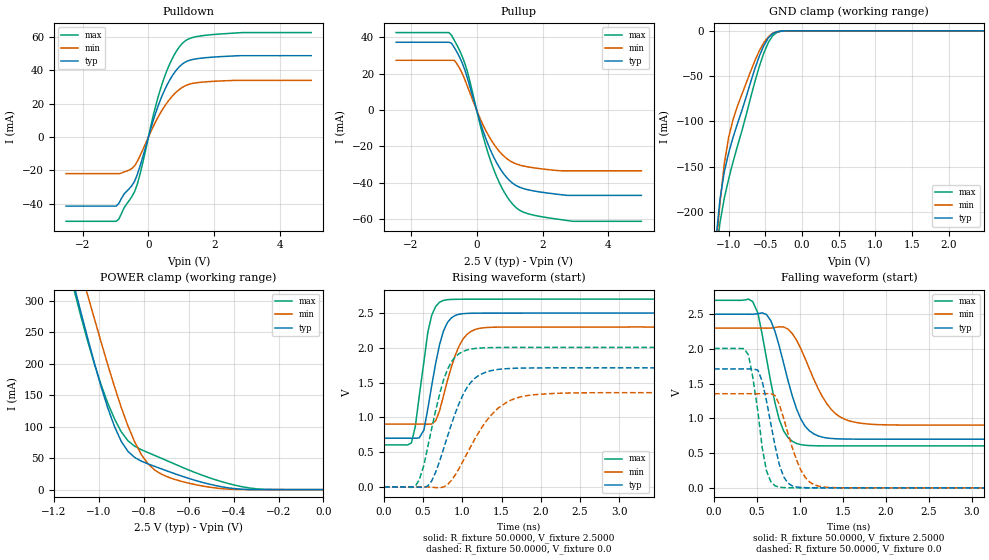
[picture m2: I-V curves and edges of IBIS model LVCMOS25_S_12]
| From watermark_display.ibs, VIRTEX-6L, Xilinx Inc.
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|   Model LVCMOS25_S_12
[Model]  LVCMOS25_S_12
Model_type I/O
Polarity   Non-Inverting
Enable   Active-Low
Vinl = 0.65
Vinh = 1.85
Vmeas =  1.2500V
Cref =   0.0F
Rref =   1.0000M
Vref =   0.0V
| Input mode values:
C_comp 4.494pF 4.451pF 4.526pF
| Output mode values:
|C_comp 4.627pF 4.451pF 4.825pF
[Model Spec]
Vinl   0.65   0.6   0.7
Vinh   1.85   1.7   2.0
[Temperature Range]   25.0000   85.0000   0.0
[Voltage Range]   2.5000V   2.3000V   2.7000V
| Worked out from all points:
|   slope of the pulldown table from 0 to 0.375 V, typ, clamps not added: 16.4 ohm
|   slope of the pullup table from 0 to 0.375 V, typ, clamps not added: 18.7 ohm
|   GND clamp passes 1 mA (typ) near -0.34 V on its own axis
|   POWER clamp passes 1 mA (typ) near -0.38 V on its own axis
|   rising waveform, R_fixture 50.0000, V_fixture 2.5000: 20-80 % time 184ps typ, 226ps min, 153ps max; typ from 0.701 V to 2.5 V
|   rising waveform, R_fixture 50.0000, V_fixture 0.0: 20-80 % time 329ps typ, 448ps min, 256ps max; typ from 0 V to 1.71 V
|   falling waveform, R_fixture 50.0000, V_fixture 2.5000: 20-80 % time 251ps typ, 327ps min, 202ps max; typ from 2.5 V to 0.701 V
|   falling waveform, R_fixture 50.0000, V_fixture 0.0: 20-80 % time 169ps typ, 216ps min, 138ps max; typ from 1.71 V to 0 V
[Pulldown]
|Voltage   I(typ)   I(min)   I(max)
-2.5V     -41.5mA    -22.02mA   -50.6mA
-980mV    -41.5mA    -22.02mA   -50.6mA
-900mV    -39.9mA    -22.02mA   -49.3mA
-500mV    -29.13mA   -18.9mA    -35.68mA
-340mV    -22.63mA   -14.72mA   -28.46mA
220mV     14.46mA    9.227mA    18.74mA
540mV     30.21mA    19.88mA    38.8mA
860mV     40.42mA    27.19mA    51.81mA
1.1V      44.71mA    30.53mA    57.38mA
1.5V      46.99mA    32.6mA     60.33mA
2.3V      48.28mA    33.66mA    61.9mA
4.94V     48.74mA    33.9mA     62.59mA
[Pullup]
|Voltage   I(typ)   I(min)   I(max)
-2.44V    37.31mA    27.39mA    42.64mA
-840mV    37.31mA    27.39mA    42.64mA
-760mV    36.77mA    27.39mA    41.15mA
-600mV    32mA       25.55mA    35.84mA
-280mV    17.58mA    13.07mA    21.21mA
200mV     -11.67mA   -8.395mA   -14.64mA
520mV     -25.95mA   -18.7mA    -32.74mA
840mV     -35.54mA   -25.56mA   -45.25mA
1.24V     -41.97mA   -29.91mA   -54.34mA
1.72V     -44.49mA   -31.78mA   -57.82mA
2.92V     -46.97mA   -33.45mA   -61.24mA
5V        -46.97mA   -33.45mA   -61.24mA
[GND_clamp]
|Voltage   I(typ)   I(min)   I(max)
-2.5V     -1.776A    -1.542A    -2.145A
-1.18V    -234.9mA   -245.4mA   -254.5mA
-1.12V    -186.7mA   -190.9mA   -212.2mA
-1.06V    -155.6mA   -146.6mA   -184.7mA
-1V       -134.5mA   -117.3mA   -163.4mA
-940mV    -117.5mA   -97.81mA   -144.5mA
-700mV    -56.37mA   -44.51mA   -73.49mA
-580mV    -27.49mA   -21.69mA   -38.67mA
-460mV    -7.862mA   -6.57mA    -12.96mA
-400mV    -2.953mA   -2.74mA    -5.373mA
-220mV    -60.62uA   -92.56uA   -101.6uA
2.48V     290.9nA    1.381uA    494.2nA
[POWER_clamp]
|Voltage   I(typ)   I(min)   I(max)
-2.49V    2.255A     2.176A     2.344A
-1.11V    323.7mA    385.4mA    316.8mA
-1.08V    282.1mA    347.1mA    275.4mA
-1.05V    241.1mA    309.2mA    236.2mA
-960mV    129.6mA    198.1mA    137.3mA
-900mV    76.58mA    130.4mA    91.7mA
-870mV    60.61mA    100.9mA    77.39mA
-810mV    45.08mA    55.2mA     63.19mA
-750mV    36.71mA    30.76mA    54.09mA
-570mV    14.56mA    7.858mA    26.92mA
-360mV    564.4uA    122.1uA    4.422mA
0V        294.1nA    909.4nA    566.4nA
[Ramp]
| variable   typ   min   max
dV/dt_r  1.0272/0.3266n   0.8130/0.4476n   1.2036/0.2555n
dV/dt_f  1.0795/0.2460n   0.8379/0.3251n   1.2576/0.1988n
R_load = 50.0000
[Rising Waveform]
R_fixture= 50.0000
V_fixture= 2.5000
V_fixture_min= 2.3000
V_fixture_max= 2.7000
|time   V(typ)   V(min)   V(max)
0s        700.8mV    903.5mV    604mV
350ps     700.9mV    903.5mV    632.7mV
400ps     700mV      903.5mV    869.9mV
510ps     818.1mV    903.4mV    1.803V
560ps     1.127V     901.9mV    2.227V
660ps     1.778V     950.7mV    2.595V
760ps     2.244V     1.313V     2.682V
960ps     2.483V     2.03V      2.698V
1.21ns    2.498V     2.278V     2.699V
5ns       2.5V       2.299V     2.7V
[Rising Waveform]
R_fixture= 50.0000
V_fixture= 0.0
|time   V(typ)   V(min)   V(max)
0s        0V         0V         0V
450ps     -3.959mV   15.1uV     102.9mV
610ps     87.86mV    -3.014mV   845.3mV
760ps     546.3mV    -999.6uV   1.538V
860ps     900.7mV    93.18mV    1.799V
1.01ns    1.329V     372.5mV    1.949V
1.16ns    1.563V     690.6mV    1.99V
1.36ns    1.67V      1.024V     2.003V
1.77ns    1.709V     1.301V     2.006V
5ns       1.712V     1.355V     2.006V
[Falling Waveform]
R_fixture= 50.0000
V_fixture= 2.5000
V_fixture_min= 2.3000
V_fixture_max= 2.7000
|time   V(typ)   V(min)   V(max)
0s        2.5V       2.3V       2.7V
450ps     2.499V     2.3V       2.682V
510ps     2.507V     2.3V       2.517V
660ps     2.408V     2.3V       1.524V
810ps     1.792V     2.316V     819.6mV
960ps     1.138V     2.127V     639.1mV
1.11ns    821.3mV    1.713V     609mV
1.31ns    718.6mV    1.216V     604.5mV
1.57ns    702.3mV    964.7mV    604.1mV
5ns       700.8mV    903.5mV    604mV
[Falling Waveform]
R_fixture= 50.0000
V_fixture= 0.0
|time   V(typ)   V(min)   V(max)
0s        1.712V     1.355V     2.007V
400ps     1.712V     1.355V     1.913V
510ps     1.695V     1.355V     1.102V
560ps     1.537V     1.355V     582mV
610ps     1.255V     1.356V     245.8mV
710ps     606.1mV    1.328V     29.51mV
860ps     68.72mV    786.4mV    1.454mV
1.01ns    5.39mV     256.6mV    188.6uV
1.21ns    432.3uV    26.39mV    29.44uV
5ns       27.01uV    36.06uV    10.84uV
